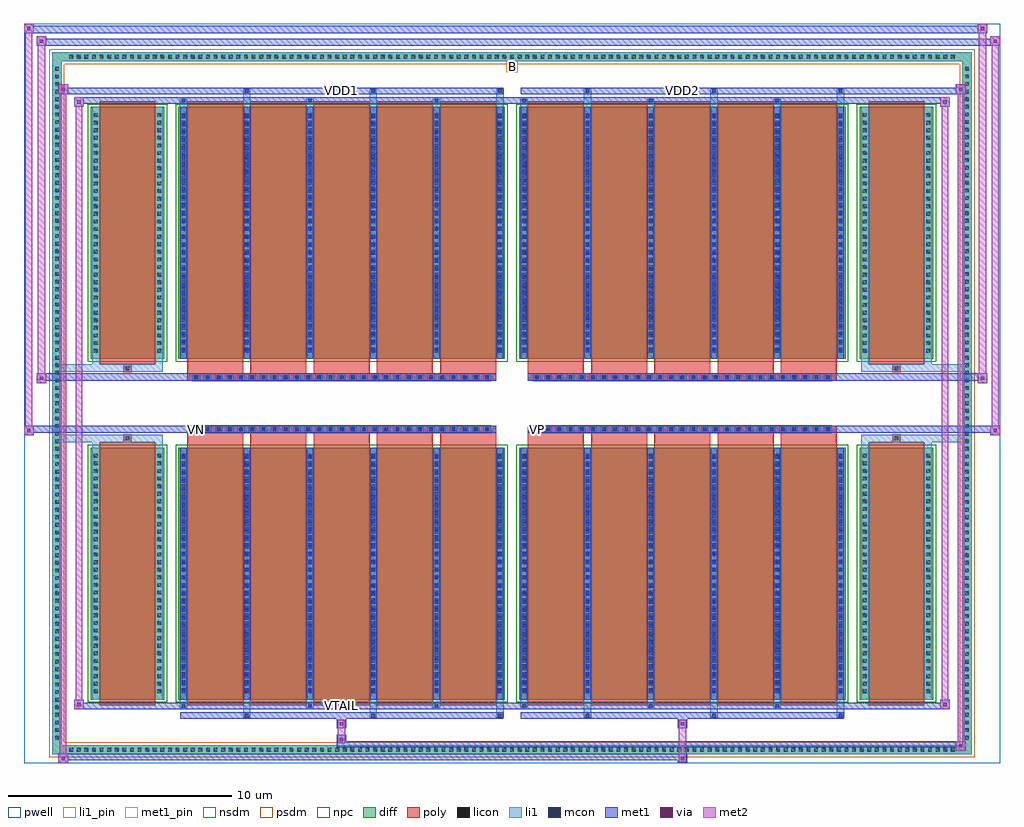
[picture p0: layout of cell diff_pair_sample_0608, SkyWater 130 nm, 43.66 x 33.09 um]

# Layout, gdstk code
import gdstk
lib = gdstk.Library(unit=1e-6, precision=5e-09)
def R(c, l, rs):  # rectangles x0, y0, x1, y1
    for r in rs: c.add(gdstk.rectangle(r[:2], r[2:], *l))
def A(c, l, x, y, w, h, nx, ny, dx, dy):  # array of equal rectangles
    R(c, l, [(x+i*dx, y+j*dy, x+i*dx+w, y+j*dy+h) for i in range(nx) for j in range(ny)])
def P(c, l, *ps):  # polygons
    for p in ps: c.add(gdstk.Polygon(p, *l))
pwell = (64, 44)
diff = (65, 20)
poly = (66, 20)
licon = (66, 44)
li1_pin = (67, 16)
li1 = (67, 20)
mcon = (67, 44)
met1_pin = (68, 16)
met1 = (68, 20)
via = (68, 44)
met2 = (69, 20)
nsdm = (93, 44)
psdm = (94, 20)
npc = (95, 20)

diff_pair_sample_0608 = lib.new_cell('diff_pair_sample_0608')
R(diff_pair_sample_0608, pwell, [(-21.83,-16.11,21.83,16.98), (-19.15,-14.3,-0.01,-0.8), (0.01,-14.3,19.15,-0.8), (-19.15,0.8,-0.01,14.3), (0.01,0.8,19.15,14.3)])
A(diff_pair_sample_0608, diff, -19.925, -15.71, 0.41, 0.41, 117, 2, 0.34, 31.01)
A(diff_pair_sample_0608, diff, -20.56, -15.165, 0.41, 0.41, 1, 89, 0, 0.34)
A(diff_pair_sample_0608, diff, 20.15, -15.165, 0.41, 0.41, 1, 89, 0, 0.34)
R(diff_pair_sample_0608, diff, [(-19.925,-15.71,19.925,-15.3), (-20.56,-15.165,-20.15,15.165), (20.15,-15.165,20.56,15.165), (-18.84,-13.255,-15.56,-1.985), (-14.92,-13.255,-0.32,-1.985), (0.32,-13.255,14.92,-1.985), (15.56,-13.255,18.84,-1.985), (-18.84,1.985,-15.56,13.255), (-14.92,1.985,-0.32,13.255), (0.32,1.985,14.92,13.255), (15.56,1.985,18.84,13.255), (-19.925,15.3,19.925,15.71)])
P(diff_pair_sample_0608, diff, [(20.56,15.71),(-20.56,15.71),(-20.56,-15.3),(-20.15,-15.3),(-20.15,15.3),(20.15,15.3),(20.15,-15.3),(-20.15,-15.3),(-20.56,-15.3),(-20.56,-15.71),(20.56,-15.71)])
A(diff_pair_sample_0608, poly, -14.53, -13.505, 2.5, 11.77, 5, 2, 2.83, 15.24)
A(diff_pair_sample_0608, poly, 0.71, -13.505, 2.5, 11.77, 5, 2, 2.83, 15.24)
A(diff_pair_sample_0608, poly, -14.53, -1.735, 2.5, 0.405, 5, 2, 2.83, 3.065)
A(diff_pair_sample_0608, poly, 0.71, -1.735, 2.5, 0.405, 5, 2, 2.83, 3.065)
A(diff_pair_sample_0608, poly, -14.285, -1.33, 0.33, 0.33, 27, 2, 0.5, 2.33)
A(diff_pair_sample_0608, poly, 0.955, -1.33, 0.33, 0.33, 27, 2, 0.5, 2.33)
R(diff_pair_sample_0608, poly, [(-18.45,-13.505,-15.95,-1.735), (15.95,-13.505,18.45,-1.735), (-17.365,-1.735,-17.035,-1.405), (-17.365,-1.735,-17.035,-1.405), (17.035,-1.735,17.365,-1.405), (17.035,-1.735,17.365,-1.405), (-14.53,-1.33,-0.71,-1), (0.71,-1.33,14.53,-1), (-14.53,1,-0.71,1.33), (0.71,1,14.53,1.33), (-17.365,1.405,-17.035,1.735), (-17.365,1.405,-17.035,1.735), (17.035,1.405,17.365,1.735), (17.035,1.405,17.365,1.735), (-18.45,1.735,-15.95,13.505), (15.95,1.735,18.45,13.505)])
A(diff_pair_sample_0608, licon, -19.805, -15.59, 0.17, 0.17, 117, 2, 0.34, 31.01)
A(diff_pair_sample_0608, licon, -20.44, -15.045, 0.17, 0.17, 1, 89, 0, 0.34)
A(diff_pair_sample_0608, licon, 20.27, -15.045, 0.17, 0.17, 1, 89, 0, 0.34)
A(diff_pair_sample_0608, licon, -18.7, -12.975, 0.17, 0.17, 1, 32, 0, 0.34)
A(diff_pair_sample_0608, licon, -15.87, -12.975, 0.17, 0.17, 1, 32, 0, 0.34)
A(diff_pair_sample_0608, licon, -14.78, -12.975, 0.17, 0.17, 6, 32, 2.83, 0.34)
A(diff_pair_sample_0608, licon, 0.46, -12.975, 0.17, 0.17, 6, 32, 2.83, 0.34)
A(diff_pair_sample_0608, licon, 15.7, -12.975, 0.17, 0.17, 1, 32, 0, 0.34)
A(diff_pair_sample_0608, licon, 18.53, -12.975, 0.17, 0.17, 1, 32, 0, 0.34)
A(diff_pair_sample_0608, licon, -14.205, -1.25, 0.17, 0.17, 27, 2, 0.5, 2.33)
A(diff_pair_sample_0608, licon, 1.035, -1.25, 0.17, 0.17, 27, 2, 0.5, 2.33)
A(diff_pair_sample_0608, licon, -18.7, 2.265, 0.17, 0.17, 1, 32, 0, 0.34)
A(diff_pair_sample_0608, licon, -15.87, 2.265, 0.17, 0.17, 1, 32, 0, 0.34)
A(diff_pair_sample_0608, licon, -14.78, 2.265, 0.17, 0.17, 6, 32, 2.83, 0.34)
A(diff_pair_sample_0608, licon, 0.46, 2.265, 0.17, 0.17, 6, 32, 2.83, 0.34)
A(diff_pair_sample_0608, licon, 15.7, 2.265, 0.17, 0.17, 1, 32, 0, 0.34)
A(diff_pair_sample_0608, licon, 18.53, 2.265, 0.17, 0.17, 1, 32, 0, 0.34)
R(diff_pair_sample_0608, licon, [(-17.285,-1.655,-17.115,-1.485), (17.115,-1.655,17.285,-1.485), (-17.285,1.485,-17.115,1.655), (17.115,1.485,17.285,1.655)])
R(diff_pair_sample_0608, li1_pin, [(-0.25,14.8,0.25,15.3)])
A(diff_pair_sample_0608, li1, -19.885, -15.67, 0.33, 0.33, 117, 2, 0.34, 31.01)
A(diff_pair_sample_0608, li1, -20.52, -15.125, 0.33, 0.33, 1, 89, 0, 0.34)
A(diff_pair_sample_0608, li1, 20.19, -15.125, 0.33, 0.33, 1, 89, 0, 0.34)
A(diff_pair_sample_0608, li1, -12.03, -14.06, 0.33, 0.805, 3, 2, 5.66, 27.315)
A(diff_pair_sample_0608, li1, -11.95, -14.06, 0.17, 0.17, 3, 2, 5.66, 27.95)
A(diff_pair_sample_0608, li1, 3.21, -14.06, 0.33, 0.805, 3, 2, 5.66, 27.315)
A(diff_pair_sample_0608, li1, 3.29, -14.06, 0.17, 0.17, 3, 2, 5.66, 27.95)
A(diff_pair_sample_0608, li1, -14.86, -13.63, 0.33, 0.375, 3, 2, 5.66, 26.885)
A(diff_pair_sample_0608, li1, -14.78, -13.63, 0.17, 0.17, 3, 2, 5.66, 27.09)
A(diff_pair_sample_0608, li1, 0.38, -13.63, 0.33, 0.375, 3, 2, 5.66, 26.885)
A(diff_pair_sample_0608, li1, 0.46, -13.63, 0.17, 0.17, 3, 2, 5.66, 27.09)
A(diff_pair_sample_0608, li1, -14.86, -13.255, 0.33, 11.27, 6, 2, 2.83, 15.24)
A(diff_pair_sample_0608, li1, 0.38, -13.255, 0.33, 11.27, 6, 2, 2.83, 15.24)
A(diff_pair_sample_0608, li1, -18.78, -13.055, 0.33, 0.33, 1, 32, 0, 0.34)
A(diff_pair_sample_0608, li1, -15.95, -13.055, 0.33, 0.33, 1, 32, 0, 0.34)
A(diff_pair_sample_0608, li1, -14.86, -13.055, 0.33, 0.33, 6, 32, 2.83, 0.34)
A(diff_pair_sample_0608, li1, 0.38, -13.055, 0.33, 0.33, 6, 32, 2.83, 0.34)
A(diff_pair_sample_0608, li1, 15.62, -13.055, 0.33, 0.33, 1, 32, 0, 0.34)
A(diff_pair_sample_0608, li1, 18.45, -13.055, 0.33, 0.33, 1, 32, 0, 0.34)
A(diff_pair_sample_0608, li1, -14.78, -12.925, 0.17, 0.17, 6, 30, 2.83, 0.36)
A(diff_pair_sample_0608, li1, -14.78, -12.925, 0.17, 10.61, 6, 2, 2.83, 15.24)
A(diff_pair_sample_0608, li1, 0.46, -12.925, 0.17, 0.17, 6, 30, 2.83, 0.36)
A(diff_pair_sample_0608, li1, 0.46, -12.925, 0.17, 10.61, 6, 2, 2.83, 15.24)
A(diff_pair_sample_0608, li1, -14.285, -1.33, 0.33, 0.33, 27, 2, 0.5, 2.33)
A(diff_pair_sample_0608, li1, 0.955, -1.33, 0.33, 0.33, 27, 2, 0.5, 2.33)
A(diff_pair_sample_0608, li1, -18.78, 2.185, 0.33, 0.33, 1, 32, 0, 0.34)
A(diff_pair_sample_0608, li1, -15.95, 2.185, 0.33, 0.33, 1, 32, 0, 0.34)
A(diff_pair_sample_0608, li1, -14.86, 2.185, 0.33, 0.33, 6, 32, 2.83, 0.34)
A(diff_pair_sample_0608, li1, 0.38, 2.185, 0.33, 0.33, 6, 32, 2.83, 0.34)
A(diff_pair_sample_0608, li1, 15.62, 2.185, 0.33, 0.33, 1, 32, 0, 0.34)
A(diff_pair_sample_0608, li1, 18.45, 2.185, 0.33, 0.33, 1, 32, 0, 0.34)
A(diff_pair_sample_0608, li1, -14.78, 2.315, 0.17, 0.17, 6, 30, 2.83, 0.36)
A(diff_pair_sample_0608, li1, 0.46, 2.315, 0.17, 0.17, 6, 30, 2.83, 0.36)
R(diff_pair_sample_0608, li1, [(-20.56,-15.71,-20.15,-15.3), (-20.56,-15.71,-20.15,-15.3), (-20.15,-15.71,20.15,-15.3), (20.15,-15.71,20.56,-15.3), (20.15,-15.71,20.56,-15.3), (-20.56,-15.3,-20.15,15.3), (20.15,-15.3,20.56,15.3), (-18.78,-13.255,-18.45,-1.985), (-15.95,-13.255,-15.62,-1.985), (15.62,-13.255,15.95,-1.985), (18.45,-13.255,18.78,-1.985), (-18.78,-1.985,-18.45,-1.405), (-15.95,-1.985,-15.62,-1.405), (15.62,-1.985,15.95,-1.405), (18.45,-1.985,18.78,-1.405), (-20.56,-1.735,-17.365,-1.405), (-18.78,-1.735,-17.365,-1.405), (-17.365,-1.735,-17.035,-1.405), (-17.035,-1.735,-15.62,-1.405), (15.62,-1.735,17.035,-1.405), (17.035,-1.735,17.365,-1.405), (17.035,-1.735,20.56,-1.405), (17.365,-1.735,18.78,-1.405), (-20.56,1.405,-17.365,1.735), (-18.78,1.405,-17.365,1.735), (-18.78,1.405,-18.45,1.985), (-17.365,1.405,-17.035,1.735), (-17.035,1.405,-15.62,1.735), (-15.95,1.405,-15.62,1.985), (15.62,1.405,17.035,1.735), (15.62,1.405,15.95,1.985), (17.035,1.405,17.365,1.735), (17.035,1.405,20.56,1.735), (17.365,1.405,18.78,1.735), (18.45,1.405,18.78,1.985), (-18.78,1.985,-18.45,13.255), (-15.95,1.985,-15.62,13.255), (15.62,1.985,15.95,13.255), (18.45,1.985,18.78,13.255), (-20.56,15.3,-20.15,15.71), (-20.56,15.3,-20.15,15.71), (-20.15,15.3,20.15,15.71), (20.15,15.3,20.56,15.71), (20.15,15.3,20.56,15.71)])
A(diff_pair_sample_0608, mcon, -11.95, -14.06, 0.17, 0.17, 3, 2, 5.66, 27.95)
A(diff_pair_sample_0608, mcon, 3.29, -14.06, 0.17, 0.17, 3, 2, 5.66, 27.95)
A(diff_pair_sample_0608, mcon, -14.78, -13.63, 0.17, 0.17, 3, 2, 5.66, 27.09)
A(diff_pair_sample_0608, mcon, 0.46, -13.63, 0.17, 0.17, 3, 2, 5.66, 27.09)
A(diff_pair_sample_0608, mcon, -14.78, -12.925, 0.17, 0.17, 6, 30, 2.83, 0.36)
A(diff_pair_sample_0608, mcon, 0.46, -12.925, 0.17, 0.17, 6, 30, 2.83, 0.36)
A(diff_pair_sample_0608, mcon, -14.205, -1.25, 0.17, 0.17, 27, 2, 0.5, 2.33)
A(diff_pair_sample_0608, mcon, 1.035, -1.25, 0.17, 0.17, 27, 2, 0.5, 2.33)
A(diff_pair_sample_0608, mcon, -14.78, 2.315, 0.17, 0.17, 6, 30, 2.83, 0.36)
A(diff_pair_sample_0608, mcon, 0.46, 2.315, 0.17, 0.17, 6, 30, 2.83, 0.36)
R(diff_pair_sample_0608, met1_pin, [(-7.755,-13.67,-7.485,-13.4), (-14.255,-1.29,-13.985,-1.02), (0.985,-1.29,1.255,-1.02), (-7.755,13.85,-7.485,14.12), (7.485,13.85,7.755,14.12)])
A(diff_pair_sample_0608, met1, -12.01, -14.12, 0.29, 0.29, 3, 2, 5.66, 27.95)
A(diff_pair_sample_0608, met1, 3.23, -14.12, 0.29, 0.29, 3, 2, 5.66, 27.95)
A(diff_pair_sample_0608, met1, -14.84, -13.69, 0.29, 0.29, 3, 2, 5.66, 27.09)
A(diff_pair_sample_0608, met1, 0.4, -13.69, 0.29, 0.29, 3, 2, 5.66, 27.09)
A(diff_pair_sample_0608, met1, -14.84, -13.255, 0.29, 11.27, 6, 2, 2.83, 15.24)
A(diff_pair_sample_0608, met1, 0.4, -13.255, 0.29, 11.27, 6, 2, 2.83, 15.24)
A(diff_pair_sample_0608, met1, -14.84, -12.985, 0.29, 0.29, 6, 30, 2.83, 0.36)
A(diff_pair_sample_0608, met1, 0.4, -12.985, 0.29, 0.29, 6, 30, 2.83, 0.36)
A(diff_pair_sample_0608, met1, -14.265, -1.31, 0.29, 0.29, 27, 2, 0.5, 2.33)
A(diff_pair_sample_0608, met1, 0.975, -1.31, 0.29, 0.29, 27, 2, 0.5, 2.33)
A(diff_pair_sample_0608, met1, -14.84, 2.255, 0.29, 0.29, 6, 30, 2.83, 0.36)
A(diff_pair_sample_0608, met1, 0.4, 2.255, 0.29, 0.29, 6, 30, 2.83, 0.36)
R(diff_pair_sample_0608, met1, [(-20.29,-16.11,-19.86,-15.68), (7.405,-16.11,7.835,-15.68), (-20.29,-15.97,7.835,-15.68), (19.86,-15.54,20.29,-15.11), (-7.835,-15.4,20.29,-15.11), (-7.835,-15.26,-7.405,-14.83), (-7.835,-14.55,-7.405,-14.12), (7.405,-14.55,7.835,-14.12), (-14.84,-14.12,-0.4,-13.83), (0.4,-14.12,14.84,-13.83), (-19.58,-13.69,-19.15,-13.26), (-19.58,-13.69,-14.84,-13.4), (-14.84,-13.69,-0.4,-13.4), (-0.4,-13.69,0.4,-13.4), (0.4,-13.69,14.84,-13.4), (14.84,-13.69,19.58,-13.4), (19.15,-13.69,19.58,-13.26), (-21.83,-1.43,-21.4,-1), (21.4,-1.43,21.83,-1), (-21.83,-1.33,-0.71,-1), (-14.53,-1.33,-0.71,-1), (0.71,-1.33,14.53,-1), (0.71,-1.33,21.83,-1), (-21.26,0.9,-20.83,1.33), (20.83,0.9,21.26,1.33), (-21.26,1,-14.53,1.33), (-14.53,1,-0.71,1.33), (0.71,1,14.53,1.33), (14.53,1,21.26,1.33), (-19.58,13.26,-19.15,13.69), (19.15,13.26,19.58,13.69), (-19.58,13.4,-14.84,13.69), (-14.84,13.4,-0.4,13.69), (-0.4,13.4,0.4,13.69), (0.4,13.4,14.84,13.69), (14.84,13.4,19.58,13.69), (-20.29,13.83,-19.86,14.26), (-20.29,13.83,-14.84,14.12), (-14.84,13.83,-0.4,14.12), (0.4,13.83,14.84,14.12), (14.84,13.83,20.29,14.12), (19.86,13.83,20.29,14.26), (-21.26,15.98,-20.83,16.41), (-21.26,15.98,-19.15,16.31), (-19.15,15.98,19.15,16.31), (19.15,15.98,21.83,16.31), (21.4,15.98,21.83,16.41), (-21.83,16.55,-21.4,16.98), (-21.83,16.55,-19.15,16.88), (-19.15,16.55,19.15,16.88), (19.15,16.55,21.26,16.88), (20.83,16.55,21.26,16.98)])
R(diff_pair_sample_0608, via, [(-20.15,-15.97,-20,-15.82), (7.545,-15.97,7.695,-15.82), (20,-15.4,20.15,-15.25), (-7.695,-15.12,-7.545,-14.97), (-7.695,-14.41,-7.545,-14.26), (7.545,-14.41,7.695,-14.26), (-19.44,-13.55,-19.29,-13.4), (19.29,-13.55,19.44,-13.4), (-21.69,-1.29,-21.54,-1.14), (21.54,-1.29,21.69,-1.14), (-21.12,1.04,-20.97,1.19), (20.97,1.04,21.12,1.19), (-19.44,13.4,-19.29,13.55), (19.29,13.4,19.44,13.55), (-20.15,13.97,-20,14.12), (20,13.97,20.15,14.12), (-21.12,16.12,-20.97,16.27), (21.54,16.12,21.69,16.27), (-21.69,16.69,-21.54,16.84), (20.97,16.69,21.12,16.84)])
R(diff_pair_sample_0608, met2, [(-20.29,-16.11,-19.86,-15.68), (-20.22,-16.11,-19.93,14.26), (-19.93,-16.11,-19.86,-15.68), (-20.24,-16.06,-19.91,-15.73), (7.455,-16.06,7.785,-15.73), (7.455,-15.73,7.785,-14.5), (19.86,-15.54,20.29,-15.11), (19.93,-15.54,20.22,14.26), (20.22,-15.54,20.29,-15.11), (19.91,-15.49,20.24,-15.16), (-7.785,-15.21,-7.455,-14.88), (-7.785,-14.88,-7.455,-14.5), (-7.785,-14.5,-7.455,-14.17), (7.455,-14.5,7.785,-14.17), (-19.58,-13.69,-19.15,-13.26), (-19.51,-13.69,-19.22,13.69), (-19.22,-13.69,-19.15,-13.26), (19.15,-13.69,19.58,-13.26), (19.22,-13.69,19.51,13.69), (19.51,-13.69,19.58,-13.26), (-19.53,-13.64,-19.2,-13.31), (19.2,-13.64,19.53,-13.31), (-21.83,-1.43,-21.4,-1), (-21.78,-1.43,-21.45,16.98), (-21.45,-1.43,-21.4,-1), (21.4,-1.43,21.83,-1), (21.45,-1.43,21.78,16.41), (21.78,-1.43,21.83,-1), (-21.78,-1.38,-21.45,-1.05), (21.45,-1.38,21.78,-1.05), (-21.26,0.9,-20.83,1.33), (-21.21,0.9,-20.88,16.41), (-20.88,0.9,-20.83,1.33), (20.83,0.9,21.26,1.33), (20.88,0.9,21.21,16.98), (21.21,0.9,21.26,1.33), (-21.21,0.95,-20.88,1.28), (20.88,0.95,21.21,1.28), (-19.58,13.26,-19.15,13.69), (-19.22,13.26,-19.15,13.69), (19.15,13.26,19.58,13.69), (19.51,13.26,19.58,13.69), (-19.53,13.31,-19.2,13.64), (19.2,13.31,19.53,13.64), (-20.29,13.83,-19.86,14.26), (-19.93,13.83,-19.86,14.26), (19.86,13.83,20.29,14.26), (20.22,13.83,20.29,14.26), (-20.24,13.88,-19.91,14.21), (19.91,13.88,20.24,14.21), (-21.26,15.98,-20.83,16.41), (-20.88,15.98,-20.83,16.41), (21.4,15.98,21.83,16.41), (21.78,15.98,21.83,16.41), (-21.21,16.03,-20.88,16.36), (21.45,16.03,21.78,16.36), (-21.83,16.55,-21.4,16.98), (-21.45,16.55,-21.4,16.98), (20.83,16.55,21.26,16.98), (21.21,16.55,21.26,16.98), (-21.78,16.6,-21.45,16.93), (20.88,16.6,21.21,16.93)])
R(diff_pair_sample_0608, nsdm, [(-18.97,-13.385,-15.43,-1.855), (-15.05,-13.385,-0.19,-1.855), (0.19,-13.385,15.05,-1.855), (15.43,-13.385,18.97,-1.855), (-18.97,1.855,-15.43,13.385), (-15.05,1.855,-0.19,13.385), (0.19,1.855,15.05,13.385), (15.43,1.855,18.97,13.385)])
P(diff_pair_sample_0608, psdm, [(20.69,15.84),(-20.69,15.84),(-20.69,-15.17),(-20.02,-15.17),(-20.02,15.17),(20.02,15.17),(20.02,-15.17),(-20.02,-15.17),(-20.69,-15.17),(-20.69,-15.84),(20.69,-15.84)])
A(diff_pair_sample_0608, npc, -14.305, -1.35, 0.37, 0.37, 27, 2, 0.5, 2.33)
A(diff_pair_sample_0608, npc, 0.935, -1.35, 0.37, 0.37, 27, 2, 0.5, 2.33)
R(diff_pair_sample_0608, npc, [(-17.385,-1.755,-17.015,-1.385), (17.015,-1.755,17.385,-1.385), (-14.305,-1.35,-13.435,-0.98), (-14.305,-1.35,-13.435,-0.98), (-13.805,-1.35,-12.935,-0.98), (-13.805,-1.35,-12.935,-0.98), (-13.305,-1.35,-12.435,-0.98), (-13.305,-1.35,-12.435,-0.98), (-12.805,-1.35,-11.935,-0.98), (-12.805,-1.35,-11.935,-0.98), (-12.305,-1.35,-11.435,-0.98), (-12.305,-1.35,-11.435,-0.98), (-11.805,-1.35,-10.935,-0.98), (-11.805,-1.35,-10.935,-0.98), (-11.305,-1.35,-10.435,-0.98), (-11.305,-1.35,-10.435,-0.98), (-10.805,-1.35,-9.935,-0.98), (-10.805,-1.35,-9.935,-0.98), (-10.305,-1.35,-9.435,-0.98), (-10.305,-1.35,-9.435,-0.98), (-9.805,-1.35,-8.935,-0.98), (-9.805,-1.35,-8.935,-0.98), (-9.305,-1.35,-8.435,-0.98), (-9.305,-1.35,-8.435,-0.98), (-8.805,-1.35,-7.935,-0.98), (-8.805,-1.35,-7.935,-0.98), (-8.305,-1.35,-7.435,-0.98), (-8.305,-1.35,-7.435,-0.98), (-7.805,-1.35,-6.935,-0.98), (-7.805,-1.35,-6.935,-0.98), (-7.305,-1.35,-6.435,-0.98), (-7.305,-1.35,-6.435,-0.98), (-6.805,-1.35,-5.935,-0.98), (-6.805,-1.35,-5.935,-0.98), (-6.305,-1.35,-5.435,-0.98), (-6.305,-1.35,-5.435,-0.98), (-5.805,-1.35,-4.935,-0.98), (-5.805,-1.35,-4.935,-0.98), (-5.305,-1.35,-4.435,-0.98), (-5.305,-1.35,-4.435,-0.98), (-4.805,-1.35,-3.935,-0.98), (-4.805,-1.35,-3.935,-0.98), (-4.305,-1.35,-3.435,-0.98), (-4.305,-1.35,-3.435,-0.98), (-3.805,-1.35,-2.935,-0.98), (-3.805,-1.35,-2.935,-0.98), (-3.305,-1.35,-2.435,-0.98), (-3.305,-1.35,-2.435,-0.98), (-2.805,-1.35,-1.935,-0.98), (-2.805,-1.35,-1.935,-0.98), (-2.305,-1.35,-1.435,-0.98), (-2.305,-1.35,-1.435,-0.98), (-1.805,-1.35,-0.935,-0.98), (-1.805,-1.35,-0.935,-0.98), (0.935,-1.35,1.805,-0.98), (0.935,-1.35,1.805,-0.98), (1.435,-1.35,2.305,-0.98), (1.435,-1.35,2.305,-0.98), (1.935,-1.35,2.805,-0.98), (1.935,-1.35,2.805,-0.98), (2.435,-1.35,3.305,-0.98), (2.435,-1.35,3.305,-0.98), (2.935,-1.35,3.805,-0.98), (2.935,-1.35,3.805,-0.98), (3.435,-1.35,4.305,-0.98), (3.435,-1.35,4.305,-0.98), (3.935,-1.35,4.805,-0.98), (3.935,-1.35,4.805,-0.98), (4.435,-1.35,5.305,-0.98), (4.435,-1.35,5.305,-0.98), (4.935,-1.35,5.805,-0.98), (4.935,-1.35,5.805,-0.98), (5.435,-1.35,6.305,-0.98), (5.435,-1.35,6.305,-0.98), (5.935,-1.35,6.805,-0.98), (5.935,-1.35,6.805,-0.98), (6.435,-1.35,7.305,-0.98), (6.435,-1.35,7.305,-0.98), (6.935,-1.35,7.805,-0.98), (6.935,-1.35,7.805,-0.98), (7.435,-1.35,8.305,-0.98), (7.435,-1.35,8.305,-0.98), (7.935,-1.35,8.805,-0.98), (7.935,-1.35,8.805,-0.98), (8.435,-1.35,9.305,-0.98), (8.435,-1.35,9.305,-0.98), (8.935,-1.35,9.805,-0.98), (8.935,-1.35,9.805,-0.98), (9.435,-1.35,10.305,-0.98), (9.435,-1.35,10.305,-0.98), (9.935,-1.35,10.805,-0.98), (9.935,-1.35,10.805,-0.98), (10.435,-1.35,11.305,-0.98), (10.435,-1.35,11.305,-0.98), (10.935,-1.35,11.805,-0.98), (10.935,-1.35,11.805,-0.98), (11.435,-1.35,12.305,-0.98), (11.435,-1.35,12.305,-0.98), (11.935,-1.35,12.805,-0.98), (11.935,-1.35,12.805,-0.98), (12.435,-1.35,13.305,-0.98), (12.435,-1.35,13.305,-0.98), (12.935,-1.35,13.805,-0.98), (12.935,-1.35,13.805,-0.98), (13.435,-1.35,14.305,-0.98), (13.435,-1.35,14.305,-0.98), (-14.305,0.98,-13.435,1.35), (-14.305,0.98,-13.435,1.35), (-13.805,0.98,-12.935,1.35), (-13.805,0.98,-12.935,1.35), (-13.305,0.98,-12.435,1.35), (-13.305,0.98,-12.435,1.35), (-12.805,0.98,-11.935,1.35), (-12.805,0.98,-11.935,1.35), (-12.305,0.98,-11.435,1.35), (-12.305,0.98,-11.435,1.35), (-11.805,0.98,-10.935,1.35), (-11.805,0.98,-10.935,1.35), (-11.305,0.98,-10.435,1.35), (-11.305,0.98,-10.435,1.35), (-10.805,0.98,-9.935,1.35), (-10.805,0.98,-9.935,1.35), (-10.305,0.98,-9.435,1.35), (-10.305,0.98,-9.435,1.35), (-9.805,0.98,-8.935,1.35), (-9.805,0.98,-8.935,1.35), (-9.305,0.98,-8.435,1.35), (-9.305,0.98,-8.435,1.35), (-8.805,0.98,-7.935,1.35), (-8.805,0.98,-7.935,1.35), (-8.305,0.98,-7.435,1.35), (-8.305,0.98,-7.435,1.35), (-7.805,0.98,-6.935,1.35), (-7.805,0.98,-6.935,1.35), (-7.305,0.98,-6.435,1.35), (-7.305,0.98,-6.435,1.35), (-6.805,0.98,-5.935,1.35), (-6.805,0.98,-5.935,1.35), (-6.305,0.98,-5.435,1.35), (-6.305,0.98,-5.435,1.35), (-5.805,0.98,-4.935,1.35), (-5.805,0.98,-4.935,1.35), (-5.305,0.98,-4.435,1.35), (-5.305,0.98,-4.435,1.35), (-4.805,0.98,-3.935,1.35), (-4.805,0.98,-3.935,1.35), (-4.305,0.98,-3.435,1.35), (-4.305,0.98,-3.435,1.35), (-3.805,0.98,-2.935,1.35), (-3.805,0.98,-2.935,1.35), (-3.305,0.98,-2.435,1.35), (-3.305,0.98,-2.435,1.35), (-2.805,0.98,-1.935,1.35), (-2.805,0.98,-1.935,1.35), (-2.305,0.98,-1.435,1.35), (-2.305,0.98,-1.435,1.35), (-1.805,0.98,-0.935,1.35), (-1.805,0.98,-0.935,1.35), (0.935,0.98,1.805,1.35), (0.935,0.98,1.805,1.35), (1.435,0.98,2.305,1.35), (1.435,0.98,2.305,1.35), (1.935,0.98,2.805,1.35), (1.935,0.98,2.805,1.35), (2.435,0.98,3.305,1.35), (2.435,0.98,3.305,1.35), (2.935,0.98,3.805,1.35), (2.935,0.98,3.805,1.35), (3.435,0.98,4.305,1.35), (3.435,0.98,4.305,1.35), (3.935,0.98,4.805,1.35), (3.935,0.98,4.805,1.35), (4.435,0.98,5.305,1.35), (4.435,0.98,5.305,1.35), (4.935,0.98,5.805,1.35), (4.935,0.98,5.805,1.35), (5.435,0.98,6.305,1.35), (5.435,0.98,6.305,1.35), (5.935,0.98,6.805,1.35), (5.935,0.98,6.805,1.35), (6.435,0.98,7.305,1.35), (6.435,0.98,7.305,1.35), (6.935,0.98,7.805,1.35), (6.935,0.98,7.805,1.35), (7.435,0.98,8.305,1.35), (7.435,0.98,8.305,1.35), (7.935,0.98,8.805,1.35), (7.935,0.98,8.805,1.35), (8.435,0.98,9.305,1.35), (8.435,0.98,9.305,1.35), (8.935,0.98,9.805,1.35), (8.935,0.98,9.805,1.35), (9.435,0.98,10.305,1.35), (9.435,0.98,10.305,1.35), (9.935,0.98,10.805,1.35), (9.935,0.98,10.805,1.35), (10.435,0.98,11.305,1.35), (10.435,0.98,11.305,1.35), (10.935,0.98,11.805,1.35), (10.935,0.98,11.805,1.35), (11.435,0.98,12.305,1.35), (11.435,0.98,12.305,1.35), (11.935,0.98,12.805,1.35), (11.935,0.98,12.805,1.35), (12.435,0.98,13.305,1.35), (12.435,0.98,13.305,1.35), (12.935,0.98,13.805,1.35), (12.935,0.98,13.805,1.35), (13.435,0.98,14.305,1.35), (13.435,0.98,14.305,1.35), (-17.385,1.385,-17.015,1.755), (17.015,1.385,17.385,1.755)])
diff_pair_sample_0608.add(gdstk.Label('VTAIL', (-7.62,-13.535), layer=68, texttype=5))
diff_pair_sample_0608.add(gdstk.Label('VN', (-14.12,-1.155), layer=68, texttype=5))
diff_pair_sample_0608.add(gdstk.Label('VP', (1.12,-1.155), layer=68, texttype=5))
diff_pair_sample_0608.add(gdstk.Label('B', (0,15.05), layer=67, texttype=5))
diff_pair_sample_0608.add(gdstk.Label('VDD2', (7.62,13.985), layer=68, texttype=5))
diff_pair_sample_0608.add(gdstk.Label('VDD1', (-7.62,13.985), layer=68, texttype=5))

lib.write_gds('diff_pair_sample_0608.gds')
